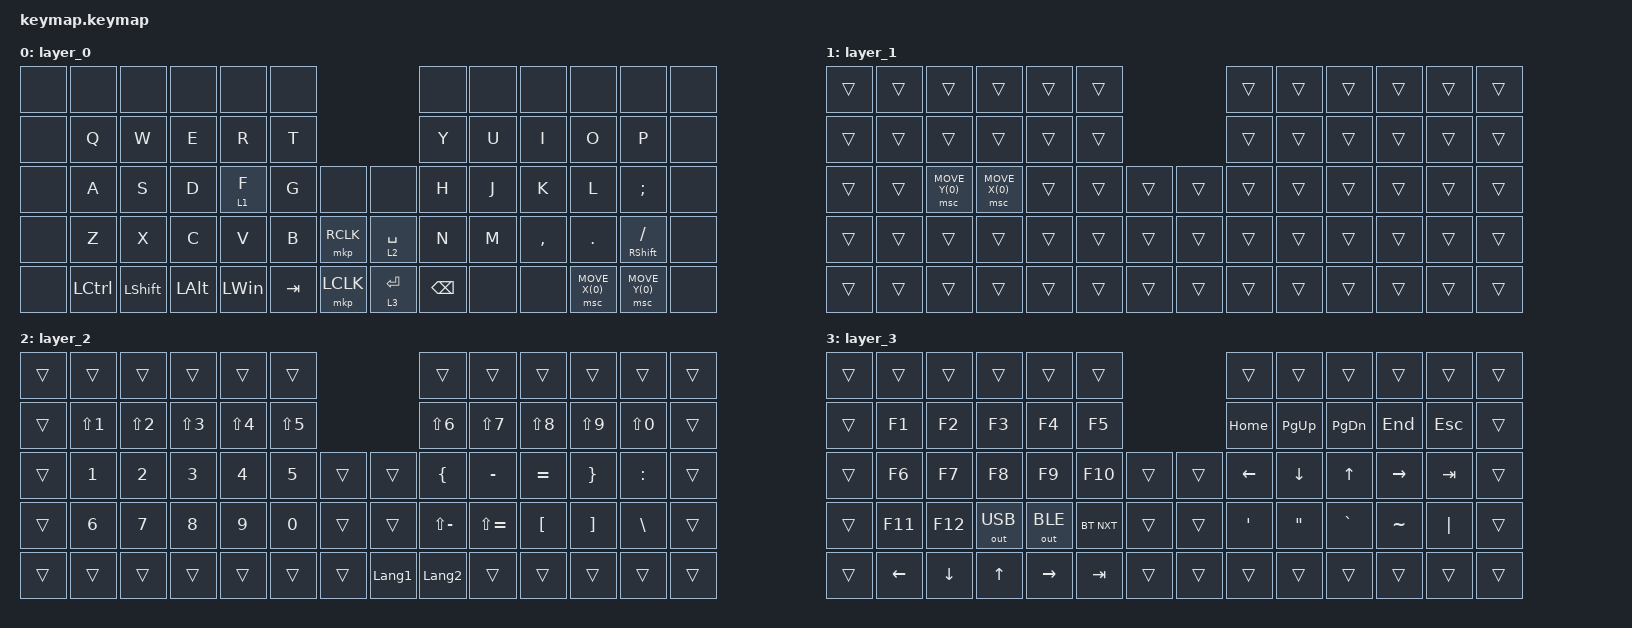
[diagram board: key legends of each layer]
#include <behaviors.dtsi>
#include <dt-bindings/zmk/bt.h>
#include <dt-bindings/zmk/keys.h>
#include <dt-bindings/zmk/outputs.h>
#include <dt-bindings/zmk/pointing.h>

/ {
    combos {
        compatible = "zmk,combos";

        bt_clear {
            bindings = <&bt BT_CLR>;
            key-positions = <28 29>;
            layers = <2>;
        };
    };

    keymap {
        compatible = "zmk,keymap";

        layer_0 {
            bindings = <
&none  &none             &none           &none     &none         &none                            &none          &none  &none      &none           &none                 &none
&none  &kp Q             &kp W           &kp E     &kp R         &kp T                            &kp Y          &kp U  &kp I      &kp O           &kp P                 &none
&none  &kp A             &kp S           &kp D     &lt 1 F       &kp G    &none      &none        &kp H          &kp J  &kp K      &kp L           &kp SEMI              &none
&none  &kp Z             &kp X           &kp C     &kp V         &kp B    &mkp RCLK  &lt 2 SPACE  &kp N          &kp M  &kp COMMA  &kp DOT         &mt RIGHT_SHIFT FSLH  &none
&none  &kp LEFT_CONTROL  &kp LEFT_SHIFT  &kp LALT  &kp LEFT_WIN  &kp TAB  &mkp LCLK  &lt 3 ENTER  &kp BACKSPACE  &none  &none      &msc MOVE_X(0)  &msc MOVE_Y(0)        &none
            >;
        };

        layer_1 {
            bindings = <
&trans  &trans  &trans          &trans          &trans  &trans                  &trans  &trans  &trans  &trans  &trans  &trans
&trans  &trans  &trans          &trans          &trans  &trans                  &trans  &trans  &trans  &trans  &trans  &trans
&trans  &trans  &msc MOVE_Y(0)  &msc MOVE_X(0)  &trans  &trans  &trans  &trans  &trans  &trans  &trans  &trans  &trans  &trans
&trans  &trans  &trans          &trans          &trans  &trans  &trans  &trans  &trans  &trans  &trans  &trans  &trans  &trans
&trans  &trans  &trans          &trans          &trans  &trans  &trans  &trans  &trans  &trans  &trans  &trans  &trans  &trans
            >;
        };

        layer_2 {
            bindings = <
&trans  &trans            &trans            &trans      &trans      &trans                              &trans          &trans         &trans            &trans             &trans         &trans
&trans  &kp LS(NUMBER_1)  &kp LS(NUMBER_2)  &kp LS(N3)  &kp LS(N4)  &kp LS(N5)                          &kp LS(N6)      &kp LS(N7)     &kp LS(N8)        &kp LS(N9)         &kp LS(N0)     &trans
&trans  &kp N1            &kp N2            &kp N3      &kp N4      &kp N5      &trans  &trans          &kp LEFT_BRACE  &kp MINUS      &kp EQUAL         &kp RIGHT_BRACE    &kp COLON      &trans
&trans  &kp N6            &kp N7            &kp N8      &kp N9      &kp N0      &trans  &trans          &kp LS(MINUS)   &kp LS(EQUAL)  &kp LEFT_BRACKET  &kp RIGHT_BRACKET  &kp BACKSLASH  &trans
&trans  &trans            &trans            &trans      &trans      &trans      &trans  &kp LANGUAGE_1  &kp LANGUAGE_2  &trans         &trans            &trans             &trans         &trans
            >;
        };

        layer_3 {
            bindings = <
&trans  &trans          &trans          &trans        &trans        &trans                      &trans            &trans     &trans         &trans     &trans      &trans
&trans  &kp F1          &kp F2          &kp F3        &kp F4        &kp F5                      &kp HOME          &kp PG_UP  &kp PAGE_DOWN  &kp END    &kp ESCAPE  &trans
&trans  &kp F6          &kp F7          &kp F8        &kp F9        &kp F10     &trans  &trans  &kp LEFT          &kp DOWN   &kp UP_ARROW   &kp RIGHT  &kp TAB     &trans
&trans  &kp F11         &kp F12         &out OUT_USB  &out OUT_BLE  &bt BT_NXT  &trans  &trans  &kp SINGLE_QUOTE  &kp DQT    &kp GRAVE      &kp TILDE  &kp PIPE    &trans
&trans  &kp LEFT_ARROW  &kp DOWN_ARROW  &kp UP_ARROW  &kp RIGHT     &kp TAB     &trans  &trans  &trans            &trans     &trans         &trans     &trans      &trans
            >;
        };
    };
};
